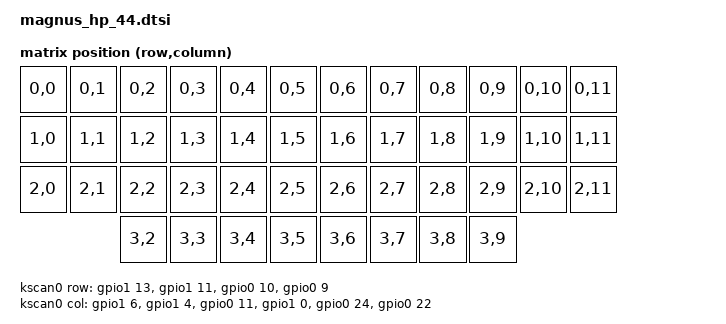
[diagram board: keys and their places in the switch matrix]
#include <dt-bindings/zmk/matrix_transform.h>
#include "magnus_hp_44-layouts.dtsi"

/ {
    chosen {
        zmk,kscan = &kscan0;
        zmk,physical-layout = &physical_layout0;
    };

    kscan0: kscan {
        compatible = "zmk,kscan-gpio-matrix";
        diode-direction = "col2row";
        wakeup-source;

        row-gpios
            = <&gpio1 13 (GPIO_ACTIVE_HIGH | GPIO_PULL_DOWN)> /* D15 P1.13 */
            , <&gpio1 11 (GPIO_ACTIVE_HIGH | GPIO_PULL_DOWN)> /* D14 P1.11 */
            , <&gpio0 10 (GPIO_ACTIVE_HIGH | GPIO_PULL_DOWN)> /* D16 P0.10 */
            , <&gpio0  9 (GPIO_ACTIVE_HIGH | GPIO_PULL_DOWN)> /* D10 P0.09 */
            ;

        col-gpios
            = <&gpio1  6 GPIO_ACTIVE_HIGH> /* D9 P1.06 */
            , <&gpio1  4 GPIO_ACTIVE_HIGH> /* D8 P1.04 */
            , <&gpio0 11 GPIO_ACTIVE_HIGH> /* D7 P0.11 */
            , <&gpio1  0 GPIO_ACTIVE_HIGH> /* D6 P1.00 */
            , <&gpio0 24 GPIO_ACTIVE_HIGH> /* D5 P0.24 */
            , <&gpio0 22 GPIO_ACTIVE_HIGH> /* D4 P0.22 */
            ;
    };

    default_transform: keymap_transform0 {
        compatible = "zmk,matrix-transform";
        columns = <12>;
        rows = <4>;
        map = <
            RC(0,0) RC(0,1) RC(0,2) RC(0,3) RC(0,4) RC(0,5)     RC(0,6) RC(0,7) RC(0,8) RC(0,9) RC(0,10) RC(0,11)
            RC(1,0) RC(1,1) RC(1,2) RC(1,3) RC(1,4) RC(1,5)     RC(1,6) RC(1,7) RC(1,8) RC(1,9) RC(1,10) RC(1,11)
            RC(2,0) RC(2,1) RC(2,2) RC(2,3) RC(2,4) RC(2,5)     RC(2,6) RC(2,7) RC(2,8) RC(2,9) RC(2,10) RC(2,11)
                            RC(3,2) RC(3,3) RC(3,4) RC(3,5)     RC(3,6) RC(3,7) RC(3,8) RC(3,9)
        >;
    };

};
